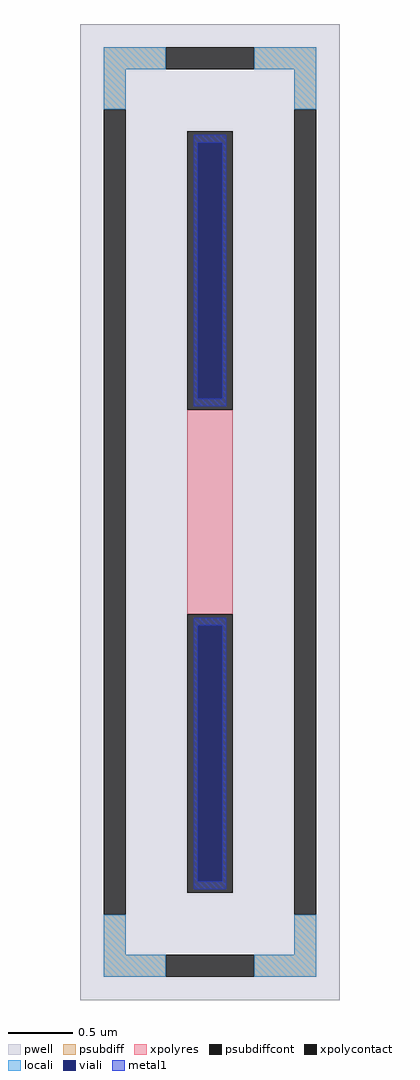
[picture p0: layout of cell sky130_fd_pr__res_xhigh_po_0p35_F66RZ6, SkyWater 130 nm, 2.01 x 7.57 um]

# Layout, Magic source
magic
tech sky130A
magscale 1 2
<< pwell >>
rect -201 -757 201 757
<< psubdiff >>
rect -165 687 -69 721
rect 69 687 165 721
rect -165 625 -131 687
rect 131 625 165 687
rect -165 -687 -131 -625
rect 131 -687 165 -625
rect -165 -721 -69 -687
rect 69 -721 165 -687
<< psubdiffcont >>
rect -69 687 69 721
rect -165 -625 -131 625
rect 131 -625 165 625
rect -69 -721 69 -687
<< xpolycontact >>
rect -35 159 35 591
rect -35 -591 35 -159
<< xpolyres >>
rect -35 -159 35 159
<< locali >>
rect -165 687 -69 721
rect 69 687 165 721
rect -165 625 -131 687
rect 131 625 165 687
rect -165 -687 -131 -625
rect 131 -687 165 -625
rect -165 -721 -69 -687
rect 69 -721 165 -687
<< viali >>
rect -19 176 19 573
rect -19 -573 19 -176
<< metal1 >>
rect -25 573 25 585
rect -25 176 -19 573
rect 19 176 25 573
rect -25 164 25 176
rect -25 -176 25 -164
rect -25 -573 -19 -176
rect 19 -573 25 -176
rect -25 -585 25 -573
<< properties >>
string FIXED_BBOX -148 -704 148 704
string gencell sky130_fd_pr__res_xhigh_po_0p35
string library sky130
string parameters w 0.350 l 1.75 m 1 nx 1 wmin 0.350 lmin 0.50 rho 2000 val 11.075k dummy 0 dw 0.0 term 188.2 sterm 0.0 caplen 0 wmax 0.350 guard 1 glc 1 grc 1 gtc 1 gbc 1 compatible {sky130_fd_pr__res_xhigh_po_0p35  sky130_fd_pr__res_xhigh_po_0p69 sky130_fd_pr__res_xhigh_po_1p41  sky130_fd_pr__res_xhigh_po_2p85 sky130_fd_pr__res_xhigh_po_5p73} snake 0 full_metal 1 n_guard 0 hv_guard 0 vias 1 viagb 0 viagt 0 viagl 0 viagr 0
<< end >>
